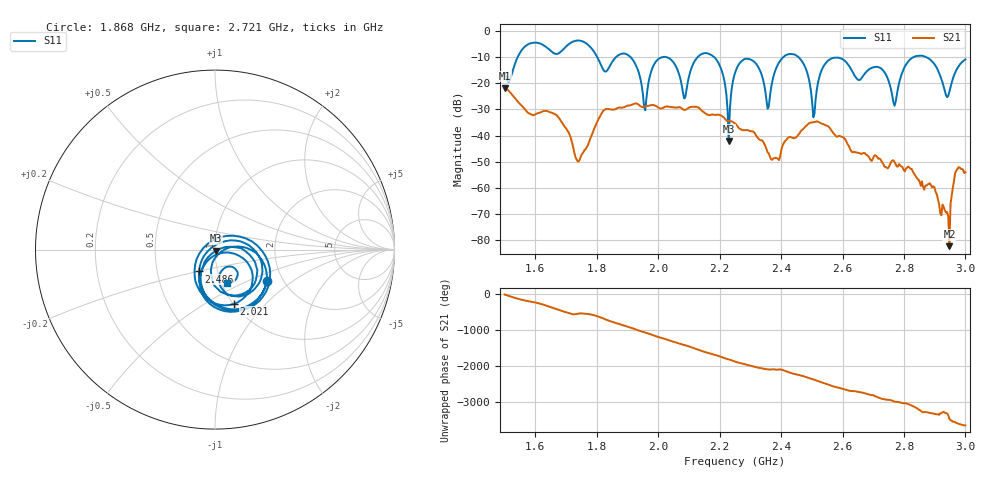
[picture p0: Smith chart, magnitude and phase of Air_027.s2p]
# HZ S RI R 50
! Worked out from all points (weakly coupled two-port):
!   404 points, 1.5 GHz to 3 GHz, reference 50 ohm
!   highest |S21| = -21.77 dB at 1.5 GHz (marker M1); lowest = -82.3 dB at 2.948 GHz (marker M2)
!   lowest |S11| = -42.1 dB at 2.23 GHz (marker M3), VSWR 1.02, Z = 50.4 - j0.675 ohm
!   |S11| at or under -10 dB: 2.182 GHz to 2.407 GHz (224.7 MHz wide, 9.79 % of centre); 2.457 GHz to 2.831 GHz (374 MHz wide, 14.1 % of centre); 2.873 GHz to end of sweep (the widest 3 of 7)
!   S12 and S22 are empty: the file has one direction only
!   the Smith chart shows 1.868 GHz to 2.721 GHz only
!   S11 on the Smith chart (normalised r, x): 1.868 GHz: 1.65, -0.65; 2.021 GHz: 1.01, -0.68; 2.486 GHz: 0.81, -0.20; 2.721 GHz: 1.06, -0.42
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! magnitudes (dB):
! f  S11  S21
! 1.5 GHz  -16.1  -21.8
! 1.753 GHz  -3.9  -46.9
! 1.868 GHz  -9.4  -29.4
! 1.958 GHz  -30.3  -28.7
! 2.002 GHz  -10.6  -29.4
! 2.021 GHz  -9.9  -29.0
! 2.084 GHz  -25.8  -30.2
! 2.181 GHz  -9.9  -32.0
! 2.23 GHz  -42.1  -34.5
! 2.252 GHz  -15.4  -35.5
! 2.311 GHz  -11.6  -38.7
! 2.356 GHz  -29.7  -46.4
! 2.375 GHz  -17.6  -48.7
! 2.486 GHz  -16.4  -35.8
! 2.501 GHz  -27.3  -34.9
! 2.561 GHz  -10.7  -37.4
! 2.721 GHz  -14.0  -48.8
! 2.751 GHz  -19.3  -52.1
! 2.859 GHz  -9.4  -57.5
! 2.948 GHz  -23.2  -82.3
! 2.97 GHz  -15.0  -53.4
! 3 GHz  -10.8  -54.0
